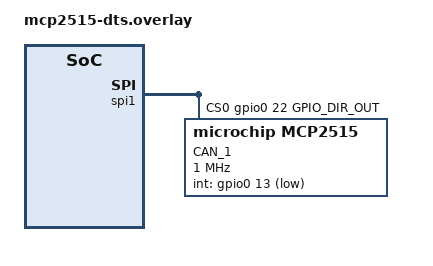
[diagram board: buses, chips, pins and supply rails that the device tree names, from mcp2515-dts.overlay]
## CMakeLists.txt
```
# SPDX-License-Identifier: Apache-2.0

cmake_minimum_required(VERSION 3.13.1)

set(DTC_OVERLAY_FILE "${CMAKE_CURRENT_SOURCE_DIR}/nordic.overlay ${CMAKE_CURRENT_SOURCE_DIR}/mcp2515-dts.overlay")

#set(CMAKE_GENERATOR "Ninja")
#message("generator is set to ${CMAKE_GENERATOR}")

set(CMAKE_EXTRA_GENERATOR "Eclipse CDT4 - Ninja")
message("extra generator is set to ${CMAKE_EXTRA_GENERATOR}")

set(CMAKE_ECLIPSE_VERSION 4.8)
message("eclipse generator version is set to ${CMAKE_ECLIPSE_VERSION}")

set(BOARD nrf52_pca10040)
message("Zephyr BOARD is set to ${BOARD}")

set(CONF_FILE "prj.conf prj.conf.mcp2515")
message("configuration file is set to ${CONF_FILE}")

include($ENV{ZEPHYR_BASE}/cmake/app/boilerplate.cmake NO_POLICY_SCOPE)
project(CAN)

target_sources(app PRIVATE src/main.c)
```

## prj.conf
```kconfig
CONFIG_CAN=y
CONFIG_CAN_INIT_PRIORITY=80
CONFIG_CAN_1=y
CONFIG_CAN_MAX_FILTER=5
CONFIG_SHELL=y
CONFIG_CAN_SHELL=y
CONFIG_DEVICE_SHELL=y
```

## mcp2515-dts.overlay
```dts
/*
 * Copyright (c) 2019 Karsten Koenig
 *
 * SPDX-License-Identifier: Apache-2.0
 */

&spi1 {
	status = "okay";
	cs-gpios = <&gpio0 22 GPIO_DIR_OUT>;
	mcp2515@0 {
		compatible = "microchip,mcp2515";
		spi-port-name = "SPI_1";
		spi-max-frequency = <1000000>;
		int-gpios = <&gpio0 13 GPIO_INT_ACTIVE_LOW>;
		status = "okay";
		label = "CAN_1";
		reg = <0>;
		bus-speed = <250000>;
	};
};
```

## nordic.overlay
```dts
&i2c0 {
	status = "disabled";
};

&i2c1 {
	status = "disabled";
};

&spi0 {
	status = "disabled";
};

&spi1 {
	status = "okay";
	cs-gpios = <&gpio0 22 0>;
	sck-pin = <25>;
	mosi-pin = <23>;
	miso-pin = <24>;
};

&spi2 {
	status = "disabled";
};
```

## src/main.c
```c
/*
 * Copyright (c) 2018 Alexander Wachter
 *
 * SPDX-License-Identifier: Apache-2.0
 */

#include <zephyr.h>
#include <kernel.h>
#include <sys/printk.h>
#include <device.h>
#include <drivers/can.h>
#include <drivers/gpio.h>

#define TX_THREAD_STACK_SIZE 512
#define LED_THREAD_STACK_SIZE 512
#define RX_STR_THREAD_STACK_SIZE 512
#define TX_THREAD_PRIORITY 2
#define LED_MSG_ID (0x10)
#define BUTTON_MSG_ID (0x01)
#define STR_MSG_ID (0x12345)

#define SET_LED 0
#define RESET_LED 1


#define NUM_LEDS_STR STRINGIFY(NUM_LEDS)

K_THREAD_STACK_DEFINE(tx_thread_stack, TX_THREAD_STACK_SIZE);
K_THREAD_STACK_DEFINE(led_thread_stack, LED_THREAD_STACK_SIZE);
K_THREAD_STACK_DEFINE(rx_str_thread_stack, RX_STR_THREAD_STACK_SIZE);
struct k_thread tx_thread_data;
struct k_thread led_thread_data;
struct k_thread rx_str_thread_data;
struct k_sem tx_sem;
static struct gpio_callback gpio_cb;
CAN_DEFINE_MSGQ(led_msgq, 2);
CAN_DEFINE_MSGQ(str_msgq, 5);

void tx_irq_callback(u32_t error_flags, void *arg)
{
	char *sender = (char *)arg;
	if (error_flags) {
		printk("Callback! error-code: %d\nSender: %s\n",
		       error_flags, sender);
	}
}

void button_callback(struct device *port,
		     struct gpio_callback *cb, u32_t pins)
{
	k_sem_give(&tx_sem);
}

void send_string(char *string, struct device *can_dev)
{
	struct zcan_frame msg;
	int str_len;

	msg.ext_id = STR_MSG_ID;
	msg.id_type = CAN_EXTENDED_IDENTIFIER;
	msg.dlc = 0U;
	msg.rtr = CAN_DATAFRAME;

	for (str_len = strlen(string); str_len; ) {
		msg.dlc = str_len >= 8 ? 8 : str_len;
		str_len -= msg.dlc;
		memcpy(msg.data, string, msg.dlc);
		string += msg.dlc;
		can_send(can_dev, &msg, 10, tx_irq_callback, "send_string");
	}
}

void tx_thread(void *can_dev_param, void *unused2, void *unused3)
{
	u8_t toggle = SET_LED;
	u16_t button_press_cnt = 0U;
	struct zcan_frame msg;
	struct zcan_frame msg_button_cnt;
	struct device *can_dev = can_dev_param;

	msg.std_id = LED_MSG_ID;
	msg.id_type = CAN_STANDARD_IDENTIFIER;
	msg.dlc = 1U;
	msg.rtr = CAN_DATAFRAME;
	msg.data[0] = 0U;

	msg_button_cnt.std_id = BUTTON_MSG_ID;
	msg_button_cnt.id_type = CAN_STANDARD_IDENTIFIER;
	msg_button_cnt.dlc = 2U;
	msg_button_cnt.rtr = CAN_DATAFRAME;
	msg_button_cnt.data[0] = 0U;
	msg_button_cnt.data[1] = 0U;

	printk("TX thread is running.\n");
	while (1) {
		k_sem_take(&tx_sem, K_FOREVER);
		button_press_cnt++;
		toggle = (toggle == SET_LED) ? RESET_LED : SET_LED;
		printk("Button pressed! Send message %u\n", toggle);
		msg.data[0] = toggle;
		msg_button_cnt.data[0] = button_press_cnt & 0xFF;
		msg_button_cnt.data[1] = (button_press_cnt >> 8) & 0xFF;
		can_send(can_dev, &msg, 10, tx_irq_callback, "LED msg");
		can_send(can_dev, &msg_button_cnt, 10, NULL, "Button count");
		if (toggle == SET_LED) {
			send_string("String sent over CAN\n", can_dev);
		}
	}
}

void rx_str_thread(void *msgq, void *can_dev_param, void *unused)
{
	struct zcan_frame msg;
	int filter_id;
	const struct zcan_filter filter = {
		.id_type = CAN_EXTENDED_IDENTIFIER,
		.rtr = CAN_DATAFRAME,
		.ext_id = STR_MSG_ID,
		.rtr_mask = 1,
		.ext_id_mask = CAN_EXT_ID_MASK
	};
	struct device *can_dev = can_dev_param;

	filter_id = can_attach_msgq(can_dev, msgq, &filter);
	printk("filter id: %d\n", filter_id);

	while (1) {
		k_msgq_get((struct k_msgq *)msgq, &msg, K_FOREVER);
		for (int i = 0; i < msg.dlc; i++) {
			printk("%c", msg.data[i]);
		}
	}
}

void led_thread(void *msgq, void *can_dev_param, void *gpio_dev_param)
{
	const struct zcan_filter filter = {
		.id_type = CAN_STANDARD_IDENTIFIER,
		.rtr = CAN_DATAFRAME,
		.std_id = LED_MSG_ID,
		.rtr_mask = 1,
		.std_id_mask = CAN_STD_ID_MASK
	};
	struct device *can_dev = can_dev_param;
	struct device *gpio_dev = gpio_dev_param;
	struct zcan_frame msg;
	int ret;
	int filter_id;

	ret = gpio_pin_configure(gpio_dev, CONFIG_PIN_LED_1, GPIO_DIR_OUT);
	gpio_pin_write(gpio_dev, CONFIG_PIN_LED_1, 0);

	if (ret) {
		printk("ERROR configure pins\n");
		return;
	}

	filter_id = can_attach_msgq(can_dev, msgq, &filter);
	printk("filter id: %d\n", filter_id);

	while (1) {
		k_msgq_get((struct k_msgq *)msgq, &msg, K_FOREVER);

		if (msg.dlc != 1U) {
			continue;
		}

		switch (msg.data[0]) {
		case SET_LED:
			gpio_pin_write(gpio_dev, CONFIG_PIN_LED_1, 1);

			break;
		case RESET_LED:
			gpio_pin_write(gpio_dev, CONFIG_PIN_LED_1, 0);
			break;
		}
	}
}

void rx_button_isr(struct zcan_frame *msg, void *arg)
{
	u16_t cnt = msg->data[0] | (msg->data[1] << 8);

	ARG_UNUSED(arg);

	printk("Button pressed %d times\n", cnt);
}

void main(void)
{
	const struct zcan_filter filter = {
		.id_type = CAN_EXTENDED_IDENTIFIER,
		.rtr = CAN_DATAFRAME,
		.std_id = BUTTON_MSG_ID,
		.rtr_mask = 1,
		.std_id_mask = CAN_STD_ID_MASK
	};
	struct device *can_dev, *led_gpio_dev, *button_gpio_dev;
	int ret;

	can_dev = device_get_binding(CONFIG_CAN_DEV);
	if (!can_dev) {
		printk("CAN: Device driver not found.\n");
		return;
	}

#ifdef CONFIG_LOOPBACK_MODE
	can_configure(can_dev, CAN_LOOPBACK_MODE, 125000);
#endif

	led_gpio_dev = device_get_binding(CONFIG_GPIO_LED_DEV);
	if (!led_gpio_dev) {
		printk("LED: Device driver not found.\n");
		return;
	}

	k_sem_init(&tx_sem, 0, INT_MAX);

	button_gpio_dev = device_get_binding(CONFIG_GPIO_BUTTON_DEV);
	if (!button_gpio_dev) {
		printk("Button: Device driver not found.\n");
		return;
	}

	ret = gpio_pin_configure(button_gpio_dev, CONFIG_PIN_USER_BUTTON,
				    (GPIO_DIR_IN | GPIO_INT | GPIO_INT_EDGE |
				     GPIO_INT_ACTIVE_LOW | GPIO_INT_DEBOUNCE));
	if (ret) {
		printk("Error configuring  button pin\n");
	}

	gpio_init_callback(&gpio_cb, button_callback,
			   BIT(CONFIG_PIN_USER_BUTTON));

	ret = gpio_add_callback(button_gpio_dev, &gpio_cb);
	if (ret) {
		printk("Cannot setup callback!\n");
	}

	ret = gpio_pin_enable_callback(button_gpio_dev, CONFIG_PIN_USER_BUTTON);
	if (ret) {
		printk("Error enabling callback!\n");
	}

	ret = can_attach_isr(can_dev, rx_button_isr, 0, &filter);
	if (ret == CAN_NO_FREE_FILTER) {
		printk("Error, no filter available!\n");
		return;
	}

	k_tid_t tx_tid = k_thread_create(&tx_thread_data, tx_thread_stack,
					 K_THREAD_STACK_SIZEOF(tx_thread_stack),
					 tx_thread,
					 can_dev, NULL, NULL,
					 TX_THREAD_PRIORITY, 0, K_NO_WAIT);
	if (!tx_tid) {
		printk("ERROR spawning tx_thread\n");
	}

	k_tid_t led_tid = k_thread_create(&led_thread_data, led_thread_stack,
					  K_THREAD_STACK_SIZEOF(led_thread_stack),
					  led_thread,
					  &led_msgq, can_dev, led_gpio_dev,
					  TX_THREAD_PRIORITY, 0, K_NO_WAIT);
	if (!led_tid) {
		printk("ERROR spawning led_thread\n");
	}

	k_tid_t str_tid = k_thread_create(&rx_str_thread_data,
					  rx_str_thread_stack,
					  K_THREAD_STACK_SIZEOF(rx_str_thread_stack),
					  rx_str_thread,
					  &str_msgq, can_dev, NULL,
					  TX_THREAD_PRIORITY, 0, K_NO_WAIT);
	if (!str_tid) {
		printk("ERROR spawning str_thread\n");
	}

	printk("Finished init. waiting for Interrupts\n");
}
```
